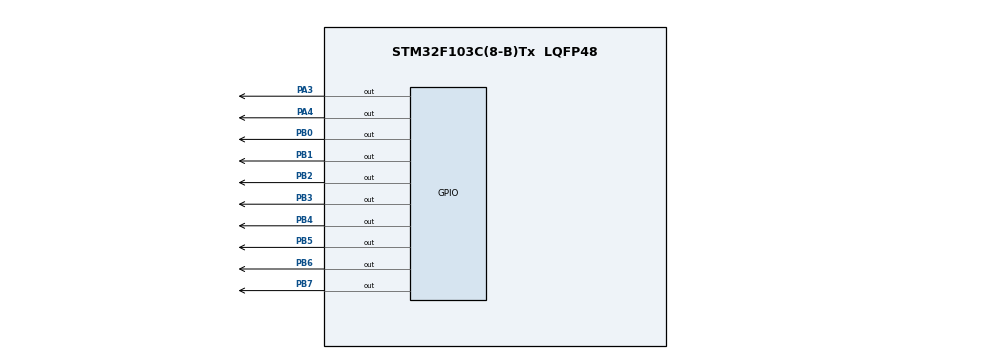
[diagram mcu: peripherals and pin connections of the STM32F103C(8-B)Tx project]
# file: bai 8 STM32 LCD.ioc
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Mcu.Family=STM32F1
Mcu.Name=STM32F103C(8-B)Tx
Mcu.Package=LQFP48
NVIC.PriorityGroup=NVIC_PRIORITYGROUP_4
PA13.Mode=Serial_Wire
PA13.Signal=SYS_JTMS-SWDIO
PA14.Mode=Serial_Wire
PA14.Signal=SYS_JTCK-SWCLK
PA3.Signal=GPIO_Output
PA4.Signal=GPIO_Output
PB0.Signal=GPIO_Output
PB1.Signal=GPIO_Output
PB2.Signal=GPIO_Output
PB3.Signal=GPIO_Output
PB4.Signal=GPIO_Output
PB5.Signal=GPIO_Output
PB6.Signal=GPIO_Output
PB7.Signal=GPIO_Output
PD0-OSC_IN.Mode=HSE-External-Oscillator
PD0-OSC_IN.Signal=RCC_OSC_IN
PD1-OSC_OUT.Mode=HSE-External-Oscillator
PD1-OSC_OUT.Signal=RCC_OSC_OUT
ProjectManager.HeapSize=0x200
ProjectManager.StackSize=0x400
ProjectManager.TargetToolchain=MDK-ARM V5
RCC.APB1Freq_Value=8000000
RCC.APB2Freq_Value=8000000
board=custom

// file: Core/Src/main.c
/* USER CODE BEGIN Header */
/**
  ******************************************************************************
  * @file           : main.c
  * @brief          : Main program body
  ******************************************************************************
  * @attention
  *
  * Copyright (c) 2023 STMicroelectronics.
  * All rights reserved.
  *
  * This software is licensed under terms that can be found in the LICENSE file
  * in the root directory of this software component.
  * If no LICENSE file comes with this software, it is provided AS-IS.
  *
  ******************************************************************************
  */
/* USER CODE END Header */
#include "main.h"

/* USER CODE BEGIN Includes */
#include "CLCD.h"
#include "stdio.h"
/* USER CODE END Includes */

void SystemClock_Config(void);
static void MX_GPIO_Init(void);
/* USER CODE BEGIN PFP */
CLCD_Name LCD1602;
uint16_t count = 0;
char str[80];
/* USER CODE END PFP */

int main(void)
{

  /* MCU Configuration--------------------------------------------------------*/

  /* Reset of all peripherals, Initializes the Flash interface and the Systick. */
  HAL_Init();

  /* Configure the system clock */
  SystemClock_Config();

  /* Initialize all configured peripherals */
  MX_GPIO_Init();
  /* USER CODE BEGIN 2 */
	CLCD_8BIT_Init(&LCD1602, 16, 2, GPIOA, GPIO_PIN_3, GPIOA, GPIO_PIN_4,
									GPIOB, GPIO_PIN_0, GPIOB, GPIO_PIN_1,
									GPIOB, GPIO_PIN_2, GPIOB, GPIO_PIN_3,
									GPIOB, GPIO_PIN_4, GPIOB, GPIO_PIN_5,
									GPIOB, GPIO_PIN_6, GPIOB, GPIO_PIN_7);

	//CLCD_SetCursor(&LCD1602,0,0);
  /* USER CODE END 2 */

  /* Infinite loop */
  while (1)
  {

    /* USER CODE BEGIN 3 */
		HAL_Delay(1000);
		CLCD_Clear(&LCD1602);
		count++;
		sprintf(str,"Count: %d",count);
		CLCD_WriteString(&LCD1602,str);

  }
  /* USER CODE END 3 */
}

void SystemClock_Config(void)
{
  RCC_OscInitTypeDef RCC_OscInitStruct = {0};
  RCC_ClkInitTypeDef RCC_ClkInitStruct = {0};

  /** Initializes the RCC Oscillators according to the specified parameters
  * in the RCC_OscInitTypeDef structure.
  */
  RCC_OscInitStruct.OscillatorType = RCC_OSCILLATORTYPE_HSI;
  RCC_OscInitStruct.HSIState = RCC_HSI_ON;
  RCC_OscInitStruct.HSICalibrationValue = RCC_HSICALIBRATION_DEFAULT;
  RCC_OscInitStruct.PLL.PLLState = RCC_PLL_NONE;
  if (HAL_RCC_OscConfig(&RCC_OscInitStruct) != HAL_OK)
  {
    Error_Handler();
  }

  /** Initializes the CPU, AHB and APB buses clocks
  */
  RCC_ClkInitStruct.ClockType = RCC_CLOCKTYPE_HCLK|RCC_CLOCKTYPE_SYSCLK
                              |RCC_CLOCKTYPE_PCLK1|RCC_CLOCKTYPE_PCLK2;
  RCC_ClkInitStruct.SYSCLKSource = RCC_SYSCLKSOURCE_HSI;
  RCC_ClkInitStruct.AHBCLKDivider = RCC_SYSCLK_DIV1;
  RCC_ClkInitStruct.APB1CLKDivider = RCC_HCLK_DIV1;
  RCC_ClkInitStruct.APB2CLKDivider = RCC_HCLK_DIV1;

  if (HAL_RCC_ClockConfig(&RCC_ClkInitStruct, FLASH_LATENCY_0) != HAL_OK)
  {
    Error_Handler();
  }
}

static void MX_GPIO_Init(void)
{
  GPIO_InitTypeDef GPIO_InitStruct = {0};

  /* GPIO Ports Clock Enable */
  __HAL_RCC_GPIOD_CLK_ENABLE();
  __HAL_RCC_GPIOA_CLK_ENABLE();
  __HAL_RCC_GPIOB_CLK_ENABLE();

  /*Configure GPIO pin Output Level */
  HAL_GPIO_WritePin(GPIOA, GPIO_PIN_3|GPIO_PIN_4, GPIO_PIN_RESET);

  /*Configure GPIO pin Output Level */
  HAL_GPIO_WritePin(GPIOB, GPIO_PIN_0|GPIO_PIN_1|GPIO_PIN_2|GPIO_PIN_3
                          |GPIO_PIN_4|GPIO_PIN_5|GPIO_PIN_6|GPIO_PIN_7, GPIO_PIN_RESET);

  /*Configure GPIO pins : PA3 PA4 */
  GPIO_InitStruct.Pin = GPIO_PIN_3|GPIO_PIN_4;
  GPIO_InitStruct.Mode = GPIO_MODE_OUTPUT_PP;
  GPIO_InitStruct.Pull = GPIO_NOPULL;
  GPIO_InitStruct.Speed = GPIO_SPEED_FREQ_LOW;
  HAL_GPIO_Init(GPIOA, &GPIO_InitStruct);

  /*Configure GPIO pins : PB0 PB1 PB2 PB3
                           PB4 PB5 PB6 PB7 */
  GPIO_InitStruct.Pin = GPIO_PIN_0|GPIO_PIN_1|GPIO_PIN_2|GPIO_PIN_3
                          |GPIO_PIN_4|GPIO_PIN_5|GPIO_PIN_6|GPIO_PIN_7;
  GPIO_InitStruct.Mode = GPIO_MODE_OUTPUT_PP;
  GPIO_InitStruct.Pull = GPIO_NOPULL;
  GPIO_InitStruct.Speed = GPIO_SPEED_FREQ_LOW;
  HAL_GPIO_Init(GPIOB, &GPIO_InitStruct);

}

void Error_Handler(void)
{
  __disable_irq();
  while (1)
  {
  }
}
